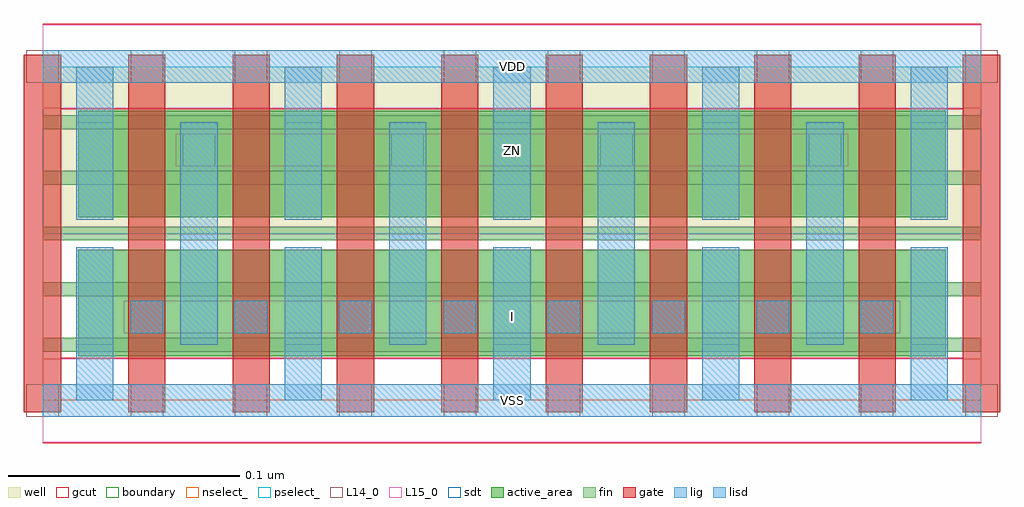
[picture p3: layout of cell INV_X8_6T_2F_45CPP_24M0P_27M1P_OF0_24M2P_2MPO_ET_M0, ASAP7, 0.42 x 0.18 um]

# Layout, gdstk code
import gdstk
lib = gdstk.Library(unit=1e-6, precision=2.5e-10)
def R(c, l, rs):  # rectangles x0, y0, x1, y1
    for r in rs: c.add(gdstk.rectangle(r[:2], r[2:], *l))
def A(c, l, x, y, w, h, nx, ny, dx, dy):  # array of equal rectangles
    R(c, l, [(x+i*dx, y+j*dy, x+i*dx+w, y+j*dy+h) for i in range(nx) for j in range(ny)])
well = (1, 0)
fin = (2, 0)
gate = (7, 0)
gcut = (10, 0)
active_area = (11, 0)
nselect_ = (12, 0)
pselect_ = (13, 0)
L14_0 = (14, 0)
L15_0 = (15, 0)
lig = (16, 0)
lisd = (17, 0)
sdt = (88, 0)
boundary = (100, 0)

inv_x8_6t_2f_45cpp_24m0p = lib.new_cell('INV_X8_6T_2F_45CPP_24M0P_27M1P_OF0_24M2P_2MPO_ET_M0')
R(inv_x8_6t_2f_45cpp_24m0p, well, [(0,0.072,0.405,0.144)])
A(inv_x8_6t_2f_45cpp_24m0p, fin, 0, 0.021, 0.405, 0.006, 1, 5, 0, 0.024)
A(inv_x8_6t_2f_45cpp_24m0p, gate, -0.008, -0.005, 0.016, 0.154, 10, 1, 0.045, 0)
R(inv_x8_6t_2f_45cpp_24m0p, gcut, [(0,-0.0185,0.405,0.0185), (-0.008,-0.005,0.008,0.149), (0.397,-0.005,0.413,0.149), (0,0.1255,0.405,0.1625)])
R(inv_x8_6t_2f_45cpp_24m0p, active_area, [(0.0155,0.019,0.3895,0.065), (0.0155,0.079,0.3895,0.125)])
R(inv_x8_6t_2f_45cpp_24m0p, nselect_, [(0,0,0.405,0.072)])
R(inv_x8_6t_2f_45cpp_24m0p, pselect_, [(0,0.072,0.405,0.144)])
A(inv_x8_6t_2f_45cpp_24m0p, L14_0, -0.007, -0.007, 0.014, 0.014, 10, 2, 0.045, 0.144)
A(inv_x8_6t_2f_45cpp_24m0p, L14_0, 0.038, 0.029, 0.014, 0.014, 8, 1, 0.045, 0)
A(inv_x8_6t_2f_45cpp_24m0p, L14_0, 0.0605, 0.101, 0.014, 0.014, 4, 1, 0.09, 0)
R(inv_x8_6t_2f_45cpp_24m0p, L15_0, [(0,-0.018,0.405,0.018), (0.035,0.029,0.37,0.043), (0.0575,0.101,0.3475,0.115), (0,0.126,0.405,0.162)])
A(inv_x8_6t_2f_45cpp_24m0p, lig, 0.038, 0.029, 0.014, 0.014, 8, 1, 0.045, 0)
R(inv_x8_6t_2f_45cpp_24m0p, lig, [(0,-0.007,0.405,0.007), (0,0.137,0.405,0.151)])
A(inv_x8_6t_2f_45cpp_24m0p, lisd, 0.0145, 0, 0.016, 0.066, 5, 2, 0.09, 0.078)
A(inv_x8_6t_2f_45cpp_24m0p, lisd, 0.0595, 0.024, 0.016, 0.096, 4, 1, 0.09, 0)
A(inv_x8_6t_2f_45cpp_24m0p, sdt, 0.0145, 0.024, 0.016, 0.042, 5, 2, 0.09, 0.054)
A(inv_x8_6t_2f_45cpp_24m0p, sdt, 0.0595, 0.024, 0.016, 0.096, 4, 1, 0.09, 0)
R(inv_x8_6t_2f_45cpp_24m0p, boundary, [(0,0,0.405,0.144)])
inv_x8_6t_2f_45cpp_24m0p.add(gdstk.Label('ZN', (0.2025,0.108), layer=15, texttype=251))
inv_x8_6t_2f_45cpp_24m0p.add(gdstk.Label('I', (0.2025,0.036), layer=15, texttype=251))
inv_x8_6t_2f_45cpp_24m0p.add(gdstk.Label('VDD', (0.2025,0.144), layer=15, texttype=251))
inv_x8_6t_2f_45cpp_24m0p.add(gdstk.Label('VSS', (0.2025,0), layer=15, texttype=251))
inv_x8_6t_2f_45cpp_24m0p.add(gdstk.Label('VDD', (0.2025,0.144), layer=1, texttype=251))
inv_x8_6t_2f_45cpp_24m0p.add(gdstk.Label('VSS', (0.2025,0), layer=3, texttype=251))

lib.write_gds('INV_X8_6T_2F_45CPP_24M0P_27M1P_OF0_24M2P_2MPO_ET_M0.gds')
